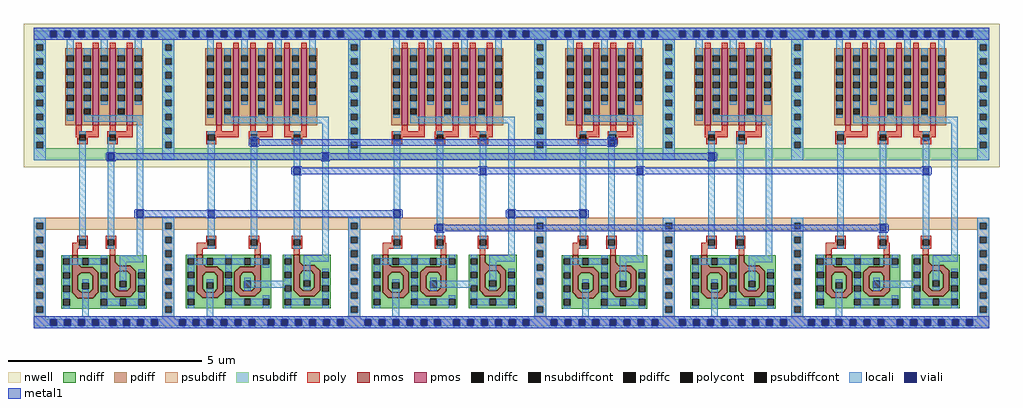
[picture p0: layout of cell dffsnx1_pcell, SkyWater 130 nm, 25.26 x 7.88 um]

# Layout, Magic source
magic
tech sky130A
magscale 1 2
<< nwell >>
rect 55 1505 89 1539
<< psubdiffcont >>
rect 55 13 89 47
<< nsubdiffcont >>
rect 55 1505 89 1539
<< viali >>
rect 55 1505 89 1539
rect 55 13 89 47
<< metal1 >>
rect 1093 945 2952 979
rect 406 871 3486 905
rect 1351 797 4604 831
rect 537 575 1822 609
rect 2461 575 2771 609
rect 2055 501 4381 535
use li1_M1_contact  li1_M1_contact_15
transform -1 0 888 0 -1 591
box -53 -33 29 33
use li1_M1_contact  li1_M1_contact_3
transform -1 0 518 0 -1 592
box -53 -33 29 33
use li1_M1_contact  li1_M1_contact_1
transform -1 0 370 0 -1 888
box -53 -33 29 33
use nand2x1_pcell  nand2x1_pcell_5
transform 1 0 0 0 1 0
box -84 0 750 1575
use nand3x1_pcell  nand3x1_pcell_0
transform 1 0 666 0 1 0
box -84 0 1046 1575
use li1_M1_contact  li1_M1_contact_8
transform -1 0 2072 0 -1 518
box -53 -33 29 33
use li1_M1_contact  li1_M1_contact_14
transform 1 0 1850 0 1 592
box -53 -33 29 33
use li1_M1_contact  li1_M1_contact_16
transform -1 0 1479 0 -1 888
box -53 -33 29 33
use li1_M1_contact  li1_M1_contact_0
transform -1 0 1332 0 -1 814
box -53 -33 29 33
use li1_M1_contact  li1_M1_contact_5
transform -1 0 1110 0 -1 962
box -53 -33 29 33
use nand3x1_pcell  nand3x1_pcell_2
transform 1 0 1628 0 1 0
box -84 0 1046 1575
use nand2x1_pcell  nand2x1_pcell_2
transform 1 0 3256 0 1 0
box -84 0 750 1575
use li1_M1_contact  li1_M1_contact_18
transform 1 0 2812 0 1 592
box -53 -33 29 33
use li1_M1_contact  li1_M1_contact_17
transform -1 0 2442 0 -1 592
box -53 -33 29 33
use li1_M1_contact  li1_M1_contact_12
transform 1 0 3108 0 1 814
box -53 -33 29 33
use li1_M1_contact  li1_M1_contact_13
transform 1 0 2294 0 1 814
box -53 -33 29 33
use li1_M1_contact  li1_M1_contact_10
transform 1 0 2960 0 1 962
box -53 -33 29 33
use nand2x1_pcell  nand2x1_pcell_0
transform 1 0 2590 0 1 0
box -84 0 750 1575
use li1_M1_contact  li1_M1_contact_2
transform 1 0 4366 0 1 518
box -53 -33 29 33
use li1_M1_contact  li1_M1_contact_19
transform 1 0 3478 0 1 888
box -53 -33 29 33
use nand3x1_pcell  nand3x1_pcell_1
transform 1 0 3922 0 1 0
box -84 0 1046 1575
use li1_M1_contact  li1_M1_contact_11
transform 1 0 4588 0 1 814
box -53 -33 29 33
<< end >>

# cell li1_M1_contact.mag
magic
tech sky130
magscale 1 2
<< locali >>
rect -17 17 17 33
rect -17 -33 17 -17
<< viali >>
rect -17 -17 17 17
<< metal1 >>
rect -23 17 23 23
rect -53 -17 -17 17
rect 17 -17 29 17
rect -23 -23 23 -17
<< end >>

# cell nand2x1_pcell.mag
magic
tech sky130A
magscale 1 2
<< nwell >>
rect 84 903 582 1575
rect 83 832 582 903
<< pdiffc >>
rect 141 1105 175 1139
rect 229 1105 263 1139
rect 405 1105 439 1139
<< psubdiff >>
rect 31 510 635 572
rect 31 13 55 47
rect 89 13 127 47
rect 161 13 199 47
rect 233 13 271 47
rect 305 13 361 47
rect 395 13 433 47
rect 467 13 505 47
rect 539 13 577 47
rect 611 13 635 47
<< nsubdiff >>
rect 31 1505 55 1539
rect 89 1505 127 1539
rect 161 1505 199 1539
rect 233 1505 271 1539
rect 305 1505 361 1539
rect 395 1505 433 1539
rect 467 1505 505 1539
rect 539 1505 577 1539
rect 611 1505 635 1539
rect 31 868 635 930
<< psubdiffcont >>
rect 55 13 89 47
rect 127 13 161 47
rect 199 13 233 47
rect 271 13 305 47
rect 361 13 395 47
rect 433 13 467 47
rect 505 13 539 47
rect 577 13 611 47
<< nsubdiffcont >>
rect 55 1505 89 1539
rect 127 1505 161 1539
rect 199 1505 233 1539
rect 271 1505 305 1539
rect 361 1505 395 1539
rect 433 1505 467 1539
rect 505 1505 539 1539
rect 577 1505 611 1539
<< poly >>
rect 168 403 198 441
rect 362 410 392 411
<< locali >>
rect 31 1539 635 1554
rect 31 1505 55 1539
rect 89 1505 127 1539
rect 161 1505 199 1539
rect 233 1505 271 1539
rect 305 1505 361 1539
rect 395 1505 433 1539
rect 467 1505 505 1539
rect 539 1505 577 1539
rect 611 1505 635 1539
rect 31 1492 635 1505
rect 141 1139 175 1157
rect 141 1073 175 1105
rect 229 1139 263 1157
rect 229 1103 263 1105
rect 405 1139 439 1157
rect 405 1103 439 1105
rect 229 1069 535 1103
rect 353 954 361 988
rect 205 461 239 954
rect 353 469 387 954
rect 353 461 357 469
rect 501 376 535 1069
rect 413 342 535 376
rect 413 261 447 342
rect 219 62 253 195
rect 31 47 635 62
rect 31 13 55 47
rect 89 13 127 47
rect 161 13 199 47
rect 233 13 271 47
rect 305 13 361 47
rect 395 13 433 47
rect 467 13 505 47
rect 539 13 577 47
rect 611 13 635 47
rect 31 0 635 13
<< viali >>
rect 55 1505 89 1539
rect 127 1505 161 1539
rect 199 1505 233 1539
rect 271 1505 305 1539
rect 361 1505 395 1539
rect 433 1505 467 1539
rect 505 1505 539 1539
rect 577 1505 611 1539
rect 55 13 89 47
rect 127 13 161 47
rect 199 13 233 47
rect 271 13 305 47
rect 361 13 395 47
rect 433 13 467 47
rect 505 13 539 47
rect 577 13 611 47
<< metal1 >>
rect 31 1539 635 1554
rect 31 1505 55 1539
rect 89 1505 127 1539
rect 161 1505 199 1539
rect 233 1505 271 1539
rect 305 1505 361 1539
rect 395 1505 433 1539
rect 467 1505 505 1539
rect 539 1505 577 1539
rect 611 1505 635 1539
rect 31 1492 635 1505
rect 31 47 635 62
rect 31 13 55 47
rect 89 13 127 47
rect 161 13 199 47
rect 233 13 271 47
rect 305 13 361 47
rect 395 13 433 47
rect 467 13 505 47
rect 539 13 577 47
rect 611 13 635 47
rect 31 0 635 13
use diff_ring_side  diff_ring_side_1
transform 1 0 0 0 1 0
box -84 0 84 1575
use nmos_bottom  nmos_bottom_0
transform -1 0 360 0 1 101
box 0 0 248 302
use poly_li1_contact  poly_li1_contact_0
transform 0 1 223 -1 0 987
box -32 -28 34 26
use poly_li1_contact  poly_li1_contact_1
transform 0 1 223 -1 0 445
box -32 -28 34 26
use pmos2  pmos2_0
transform 1 0 43 0 1 1450
box 52 -461 352 42
use poly_li1_contact  poly_li1_contact_3
transform 0 1 377 -1 0 987
box -32 -28 34 26
use poly_li1_contact  poly_li1_contact_2
transform 0 -1 369 1 0 443
box -32 -28 34 26
use pmos2  pmos2_1
transform 1 0 219 0 1 1450
box 52 -461 352 42
use nmos_top_trim1  nmos_top_trim1_0
transform -1 0 554 0 1 101
box 0 0 248 309
use diff_ring_side  diff_ring_side_0
transform 1 0 666 0 1 0
box -84 0 84 1575
<< end >>

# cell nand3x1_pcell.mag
magic
tech sky130A
magscale 1 2
<< nwell >>
rect 84 1573 880 1575
rect 84 1556 878 1573
rect 84 1487 941 1556
rect 84 1145 878 1487
rect 84 1139 220 1145
rect 84 1105 205 1139
rect 229 1105 263 1139
rect 84 1102 220 1105
rect 279 1102 878 1145
rect 84 935 878 1102
rect 84 934 929 935
rect 84 859 931 934
rect 84 832 878 859
<< pdiffc >>
rect 201 1105 235 1139
rect 289 1105 323 1139
rect 465 1105 499 1139
rect 641 1105 675 1139
<< psubdiff >>
rect 31 510 931 572
rect 31 13 55 47
rect 89 13 127 47
rect 161 13 199 47
rect 233 13 271 47
rect 305 13 343 47
rect 377 13 415 47
rect 449 13 513 47
rect 547 13 585 47
rect 619 13 657 47
rect 691 13 729 47
rect 763 13 801 47
rect 835 13 873 47
rect 907 13 931 47
<< nsubdiff >>
rect 31 1505 55 1539
rect 89 1505 127 1539
rect 161 1505 199 1539
rect 233 1505 271 1539
rect 305 1505 343 1539
rect 377 1505 415 1539
rect 449 1505 513 1539
rect 547 1505 585 1539
rect 619 1505 657 1539
rect 691 1505 729 1539
rect 763 1505 801 1539
rect 835 1505 873 1539
rect 907 1505 931 1539
rect 31 868 931 930
<< psubdiffcont >>
rect 55 13 89 47
rect 127 13 161 47
rect 199 13 233 47
rect 271 13 305 47
rect 343 13 377 47
rect 415 13 449 47
rect 513 13 547 47
rect 585 13 619 47
rect 657 13 691 47
rect 729 13 763 47
rect 801 13 835 47
rect 873 13 907 47
<< nsubdiffcont >>
rect 55 1505 89 1539
rect 127 1505 161 1539
rect 199 1505 233 1539
rect 271 1505 305 1539
rect 343 1505 377 1539
rect 415 1505 449 1539
rect 513 1505 547 1539
rect 585 1505 619 1539
rect 657 1505 691 1539
rect 729 1505 763 1539
rect 801 1505 835 1539
rect 873 1505 907 1539
<< poly >>
rect 147 411 195 441
rect 471 411 477 441
rect 147 405 177 411
rect 447 405 477 411
<< locali >>
rect 31 1539 931 1554
rect 31 1505 55 1539
rect 89 1505 127 1539
rect 161 1505 199 1539
rect 233 1505 271 1539
rect 305 1505 343 1539
rect 377 1505 415 1539
rect 449 1505 513 1539
rect 547 1505 585 1539
rect 619 1505 657 1539
rect 691 1505 729 1539
rect 763 1505 801 1539
rect 835 1505 873 1539
rect 907 1505 931 1539
rect 31 1492 931 1505
rect 201 1139 235 1162
rect 201 1089 235 1105
rect 289 1139 323 1157
rect 289 1094 323 1105
rect 465 1139 499 1157
rect 465 1094 499 1105
rect 641 1139 675 1157
rect 641 1094 675 1105
rect 289 1060 831 1094
rect 205 461 239 954
rect 427 461 461 954
rect 649 477 683 986
rect 797 378 831 1060
rect 700 344 831 378
rect 700 263 734 344
rect 393 210 603 244
rect 198 62 232 195
rect 31 47 931 62
rect 31 13 55 47
rect 89 13 127 47
rect 161 13 199 47
rect 233 13 271 47
rect 305 13 343 47
rect 377 13 415 47
rect 449 13 513 47
rect 547 13 585 47
rect 619 13 657 47
rect 691 13 729 47
rect 763 13 801 47
rect 835 13 873 47
rect 907 13 931 47
rect 31 0 931 13
<< viali >>
rect 55 1505 89 1539
rect 127 1505 161 1539
rect 199 1505 233 1539
rect 271 1505 305 1539
rect 343 1505 377 1539
rect 415 1505 449 1539
rect 513 1505 547 1539
rect 585 1505 619 1539
rect 657 1505 691 1539
rect 729 1505 763 1539
rect 801 1505 835 1539
rect 873 1505 907 1539
rect 55 13 89 47
rect 127 13 161 47
rect 199 13 233 47
rect 271 13 305 47
rect 343 13 377 47
rect 415 13 449 47
rect 513 13 547 47
rect 585 13 619 47
rect 657 13 691 47
rect 729 13 763 47
rect 801 13 835 47
rect 873 13 907 47
<< metal1 >>
rect 31 1539 931 1554
rect 31 1505 55 1539
rect 89 1505 127 1539
rect 161 1505 199 1539
rect 233 1505 271 1539
rect 305 1505 343 1539
rect 377 1505 415 1539
rect 449 1505 513 1539
rect 547 1505 585 1539
rect 619 1505 657 1539
rect 691 1505 729 1539
rect 763 1505 801 1539
rect 835 1505 873 1539
rect 907 1505 931 1539
rect 31 1492 931 1505
rect 31 47 931 62
rect 31 13 55 47
rect 89 13 127 47
rect 161 13 199 47
rect 233 13 271 47
rect 305 13 343 47
rect 377 13 415 47
rect 449 13 513 47
rect 547 13 585 47
rect 619 13 657 47
rect 691 13 729 47
rect 763 13 801 47
rect 835 13 873 47
rect 907 13 931 47
rect 31 0 931 13
use diff_ring_side  diff_ring_side_1
transform 1 0 0 0 1 0
box -84 0 84 1575
use poly_li1_contact  poly_li1_contact_0
transform 0 1 223 -1 0 987
box -32 -28 34 26
use poly_li1_contact  poly_li1_contact_1
transform 0 -1 221 1 0 443
box -32 -28 34 26
use nmos_bottom  nmos_bottom_0
transform -1 0 339 0 1 103
box 0 0 248 302
use pmos2  pmos2_0
transform 1 0 103 0 1 1450
box 52 -461 352 42
use poly_li1_contact  poly_li1_contact_3
transform 0 -1 443 1 0 985
box -32 -28 34 26
use nmos_side_left  nmos_side_left_0
transform 1 0 285 0 1 103
box 0 0 248 302
use poly_li1_contact  poly_li1_contact_2
transform 0 -1 443 1 0 443
box -32 -28 34 26
use pmos2  pmos2_2
transform 1 0 455 0 1 1450
box 52 -461 352 42
use pmos2  pmos2_1
transform 1 0 279 0 1 1450
box 52 -461 352 42
use poly_li1_contact  poly_li1_contact_5
transform 0 1 667 -1 0 987
box -32 -28 34 26
use poly_li1_contact  poly_li1_contact_4
transform 0 -1 665 1 0 443
box -32 -28 34 26
use nmos_top_trim1  nmos_top_trim1_0
transform -1 0 841 0 1 103
box 0 0 248 309
use diff_ring_side  diff_ring_side_0
transform 1 0 962 0 1 0
box -84 0 84 1575
<< end >>

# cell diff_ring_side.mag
magic
tech sky130A
magscale 1 2
<< nwell >>
rect -84 832 84 1575
<< psubdiff >>
rect -31 546 31 572
rect -31 512 -17 546
rect 17 512 31 546
rect -31 474 31 512
rect -31 440 -17 474
rect 17 440 31 474
rect -31 402 31 440
rect -31 368 -17 402
rect 17 368 31 402
rect -31 330 31 368
rect -31 296 -17 330
rect 17 296 31 330
rect -31 258 31 296
rect -31 224 -17 258
rect 17 224 31 258
rect -31 186 31 224
rect -31 152 -17 186
rect 17 152 31 186
rect -31 114 31 152
rect -31 80 -17 114
rect 17 80 31 114
rect -31 11 31 80
<< nsubdiff >>
rect -31 1470 31 1539
rect -31 1436 -17 1470
rect 17 1436 31 1470
rect -31 1398 31 1436
rect -31 1364 -17 1398
rect 17 1364 31 1398
rect -31 1326 31 1364
rect -31 1292 -17 1326
rect 17 1292 31 1326
rect -31 1254 31 1292
rect -31 1220 -17 1254
rect 17 1220 31 1254
rect -31 1182 31 1220
rect -31 1148 -17 1182
rect 17 1148 31 1182
rect -31 1110 31 1148
rect -31 1076 -17 1110
rect 17 1076 31 1110
rect -31 1038 31 1076
rect -31 1004 -17 1038
rect 17 1004 31 1038
rect -31 966 31 1004
rect -31 932 -17 966
rect 17 932 31 966
rect -31 868 31 932
<< psubdiffcont >>
rect -17 512 17 546
rect -17 440 17 474
rect -17 368 17 402
rect -17 296 17 330
rect -17 224 17 258
rect -17 152 17 186
rect -17 80 17 114
<< nsubdiffcont >>
rect -17 1436 17 1470
rect -17 1364 17 1398
rect -17 1292 17 1326
rect -17 1220 17 1254
rect -17 1148 17 1182
rect -17 1076 17 1110
rect -17 1004 17 1038
rect -17 932 17 966
<< locali >>
rect -31 1470 31 1554
rect -31 1436 -17 1470
rect 17 1436 31 1470
rect -31 1398 31 1436
rect -31 1364 -17 1398
rect 17 1364 31 1398
rect -31 1326 31 1364
rect -31 1292 -17 1326
rect 17 1292 31 1326
rect -31 1254 31 1292
rect -31 1220 -17 1254
rect 17 1220 31 1254
rect -31 1182 31 1220
rect -31 1148 -17 1182
rect 17 1148 31 1182
rect -31 1110 31 1148
rect -31 1076 -17 1110
rect 17 1076 31 1110
rect -31 1038 31 1076
rect -31 1004 -17 1038
rect 17 1004 31 1038
rect -31 966 31 1004
rect -31 932 -17 966
rect 17 932 31 966
rect -31 868 31 932
rect -31 546 31 572
rect -31 512 -17 546
rect 17 512 31 546
rect -31 474 31 512
rect -31 440 -17 474
rect 17 440 31 474
rect -31 402 31 440
rect -31 368 -17 402
rect 17 368 31 402
rect -31 330 31 368
rect -31 296 -17 330
rect 17 296 31 330
rect -31 258 31 296
rect -31 224 -17 258
rect 17 224 31 258
rect -31 186 31 224
rect -31 152 -17 186
rect 17 152 31 186
rect -31 114 31 152
rect -31 80 -17 114
rect 17 80 31 114
rect -31 0 31 80
<< metal1 >>
rect -31 1492 31 1554
rect -31 0 31 62
<< end >>

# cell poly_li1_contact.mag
magic
tech sky130A
<< poly >>
rect -16 8 17 13
rect -16 -9 -8 8
rect 9 -9 17 8
rect -16 -14 17 -9
<< polycont >>
rect -8 -9 9 8
<< locali >>
rect -16 -9 -8 8
rect 9 -9 17 8
<< end >>

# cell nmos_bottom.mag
magic
tech sky130A
magscale 1 2
<< nmos >>
tri 146 215 162 231 se
rect 162 215 192 276
tri 56 185 86 215 se
rect 86 185 192 215
rect 56 84 86 185
tri 86 169 102 185 nw
tri 146 169 162 185 ne
tri 86 84 102 100 sw
tri 146 84 162 100 se
rect 162 84 192 185
tri 56 54 86 84 ne
rect 86 54 162 84
tri 162 54 192 84 nw
<< ndiff >>
rect 0 260 162 276
rect 0 226 10 260
rect 44 226 107 260
rect 141 231 162 260
rect 141 226 146 231
rect 0 215 146 226
tri 146 215 162 231 nw
rect 192 260 248 276
rect 192 226 204 260
rect 238 226 248 260
rect 0 188 56 215
rect 0 154 10 188
rect 44 154 56 188
tri 56 185 86 215 nw
rect 192 188 248 226
rect 0 120 56 154
rect 0 86 10 120
rect 44 86 56 120
rect 0 54 56 86
tri 86 169 102 185 se
rect 102 169 146 185
tri 146 169 162 185 sw
rect 86 135 162 169
rect 86 101 107 135
rect 141 101 162 135
rect 86 100 162 101
tri 86 84 102 100 ne
rect 102 84 146 100
tri 146 84 162 100 nw
rect 192 154 204 188
rect 238 154 248 188
rect 192 120 248 154
rect 192 86 204 120
rect 238 86 248 120
tri 56 54 86 84 sw
tri 162 54 192 84 se
rect 192 54 248 86
rect 0 50 248 54
rect 0 16 10 50
rect 44 16 204 50
rect 238 16 248 50
rect 0 0 248 16
<< ndiffc >>
rect 10 226 44 260
rect 107 226 141 260
rect 204 226 238 260
rect 10 154 44 188
rect 10 86 44 120
rect 107 101 141 135
rect 204 154 238 188
rect 204 86 238 120
rect 10 16 44 50
rect 204 16 238 50
<< poly >>
rect 162 276 192 302
<< locali >>
rect 10 260 44 276
rect 204 260 238 276
rect 44 226 107 260
rect 141 226 204 260
rect 10 188 44 226
rect 10 120 44 154
rect 204 188 238 226
rect 10 50 44 86
rect 107 135 141 151
rect 107 85 141 101
rect 204 120 238 154
rect 10 0 44 16
rect 204 50 238 86
rect 204 0 238 16
<< end >>

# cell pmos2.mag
magic
tech sky130
magscale 1 2
<< nwell >>
rect 52 -436 352 36
<< pmos >>
rect 144 -400 174 0
rect 232 -400 262 0
<< pdiff >>
rect 88 -38 144 0
rect 88 -72 98 -38
rect 132 -72 144 -38
rect 88 -106 144 -72
rect 88 -140 98 -106
rect 132 -140 144 -106
rect 88 -174 144 -140
rect 88 -208 98 -174
rect 132 -208 144 -174
rect 88 -242 144 -208
rect 88 -276 98 -242
rect 132 -276 144 -242
rect 88 -400 144 -276
rect 174 -38 232 0
rect 174 -72 186 -38
rect 220 -72 232 -38
rect 174 -106 232 -72
rect 174 -140 186 -106
rect 220 -140 232 -106
rect 174 -174 232 -140
rect 174 -208 186 -174
rect 220 -208 232 -174
rect 174 -242 232 -208
rect 174 -276 186 -242
rect 220 -276 232 -242
rect 174 -400 232 -276
rect 262 -38 316 0
rect 262 -72 274 -38
rect 308 -72 316 -38
rect 262 -106 316 -72
rect 262 -140 274 -106
rect 308 -140 316 -106
rect 262 -174 316 -140
rect 262 -208 274 -174
rect 308 -208 316 -174
rect 262 -242 316 -208
rect 262 -276 274 -242
rect 308 -276 316 -242
rect 262 -400 316 -276
<< pdiffc >>
rect 98 -72 132 -38
rect 98 -140 132 -106
rect 98 -208 132 -174
rect 98 -276 132 -242
rect 186 -72 220 -38
rect 186 -140 220 -106
rect 186 -208 220 -174
rect 186 -276 220 -242
rect 274 -72 308 -38
rect 274 -140 308 -106
rect 274 -208 308 -174
rect 274 -276 308 -242
<< poly >>
rect 144 0 174 26
rect 232 0 262 26
rect 144 -431 174 -400
rect 232 -431 262 -400
rect 144 -461 262 -431
<< locali >>
rect 98 -38 132 42
rect 98 -106 132 -72
rect 98 -174 132 -140
rect 98 -242 132 -208
rect 98 -293 132 -276
rect 186 -38 220 0
rect 186 -106 220 -72
rect 186 -174 220 -140
rect 186 -242 220 -208
rect 186 -293 220 -276
rect 274 -38 308 42
rect 274 -106 308 -72
rect 274 -174 308 -140
rect 274 -242 308 -208
rect 274 -293 308 -276
<< end >>

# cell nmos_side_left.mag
magic
tech sky130A
magscale 1 2
<< nmos >>
rect 162 215 192 276
tri 57 185 87 215 se
rect 87 185 192 215
rect 57 91 87 185
tri 87 169 103 185 nw
tri 146 169 162 185 ne
tri 87 91 103 107 sw
tri 146 91 162 107 se
rect 162 91 192 185
tri 57 61 87 91 ne
rect 87 61 162 91
tri 162 61 192 91 nw
<< ndiff >>
rect 0 260 162 276
rect 0 226 10 260
rect 44 226 107 260
rect 141 226 162 260
rect 0 215 162 226
rect 192 260 248 276
rect 192 226 204 260
rect 238 226 248 260
rect 0 188 57 215
rect 0 154 10 188
rect 44 154 57 188
tri 57 185 87 215 nw
rect 0 120 57 154
rect 0 86 10 120
rect 44 86 57 120
tri 87 169 103 185 se
rect 103 169 146 185
tri 146 169 162 185 sw
rect 87 141 162 169
rect 87 107 108 141
rect 142 107 162 141
tri 87 91 103 107 ne
rect 103 91 146 107
tri 146 91 162 107 nw
rect 0 61 57 86
tri 57 61 87 91 sw
tri 162 61 192 91 se
rect 192 61 248 226
rect 0 50 248 61
rect 0 16 10 50
rect 44 16 107 50
rect 141 16 204 50
rect 238 16 248 50
rect 0 0 248 16
<< ndiffc >>
rect 10 226 44 260
rect 107 226 141 260
rect 204 226 238 260
rect 10 154 44 188
rect 10 86 44 120
rect 108 107 142 141
rect 10 16 44 50
rect 107 16 141 50
rect 204 16 238 50
<< poly >>
rect 162 276 192 302
<< locali >>
rect 10 260 44 276
rect 204 260 238 276
rect 44 226 107 260
rect 141 226 204 260
rect 10 188 44 226
rect 204 210 238 226
rect 10 120 44 154
rect 108 141 142 157
rect 108 91 142 107
rect 10 50 44 86
rect 204 50 238 66
rect 44 16 107 50
rect 141 16 204 50
rect 10 0 44 16
rect 204 0 238 16
<< end >>

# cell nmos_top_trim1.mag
magic
tech sky130A
magscale 1 2
<< nmos >>
tri 146 223 162 239 se
rect 162 223 192 276
tri 56 193 86 223 se
rect 86 193 192 223
rect 56 92 86 193
tri 86 177 102 193 nw
tri 146 177 162 193 ne
tri 86 92 102 108 sw
tri 146 92 162 108 se
rect 162 92 192 193
tri 56 62 86 92 ne
rect 86 62 162 92
tri 162 62 192 92 nw
<< ndiff >>
rect 0 239 162 276
rect 0 223 146 239
tri 146 223 162 239 nw
rect 192 260 248 276
rect 192 226 204 260
rect 238 226 248 260
rect 0 188 56 223
tri 56 193 86 223 nw
rect 0 154 10 188
rect 44 154 56 188
rect 0 120 56 154
rect 0 86 10 120
rect 44 86 56 120
tri 86 177 102 193 se
rect 102 177 146 193
tri 146 177 162 193 sw
rect 86 144 162 177
rect 86 110 107 144
rect 141 110 162 144
rect 86 108 162 110
tri 86 92 102 108 ne
rect 102 92 146 108
tri 146 92 162 108 nw
rect 192 188 248 226
rect 192 154 204 188
rect 238 154 248 188
rect 192 120 248 154
rect 0 62 56 86
tri 56 62 86 92 sw
tri 162 62 192 92 se
rect 192 86 204 120
rect 238 86 248 120
rect 192 62 248 86
rect 0 50 248 62
rect 0 16 10 50
rect 44 16 107 50
rect 141 16 204 50
rect 238 16 248 50
rect 0 0 248 16
<< ndiffc >>
rect 204 226 238 260
rect 10 154 44 188
rect 10 86 44 120
rect 107 110 141 144
rect 204 154 238 188
rect 204 86 238 120
rect 10 16 44 50
rect 107 16 141 50
rect 204 16 238 50
<< poly >>
rect 162 276 192 309
<< locali >>
rect 204 260 238 276
rect 10 188 44 204
rect 204 188 238 226
rect 10 120 44 154
rect 107 144 141 161
rect 107 94 141 110
rect 204 120 238 154
rect 10 50 44 86
rect 204 50 238 86
rect 44 16 107 50
rect 141 16 204 50
rect 10 0 44 16
rect 204 0 238 16
<< end >>
